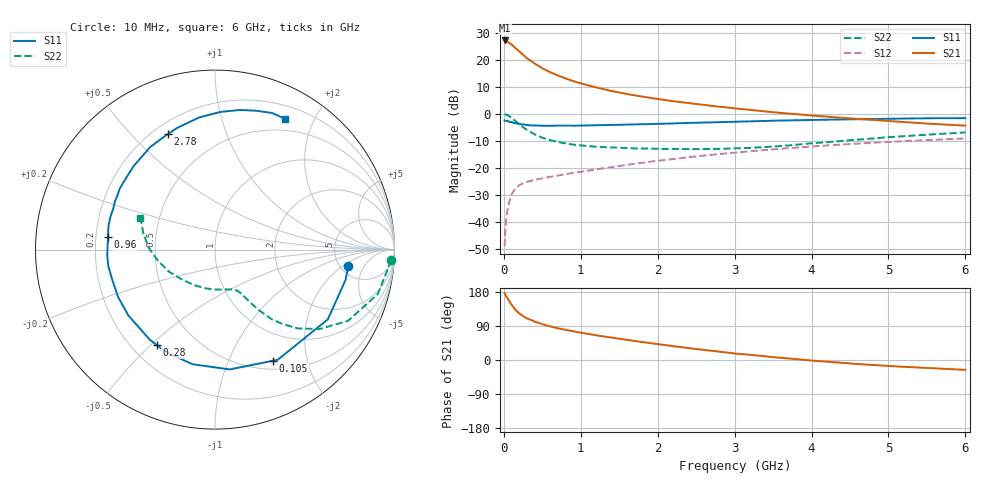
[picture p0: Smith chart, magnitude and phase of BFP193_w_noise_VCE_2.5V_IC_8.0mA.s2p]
! Infineon Technologies  Discrete & RF Semiconductors
! BFP193
! VCE = 2.5 V,  IC =  8.0 mA
! Common Emitter S-Parameters:  Jan 2016
# GHz  S  MA  R  50
!  f  S11  S21  S12  S22
! GHz  MAG  ANG  MAG  ANG  MAG  ANG  MAG  ANG
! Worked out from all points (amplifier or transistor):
!   210 points, 10 MHz to 6 GHz, reference 50 ohm
!   highest |S21| = 27.2 dB at 10 MHz (marker M1)
!   |S21| within 3 dB of that: start of sweep to 158.3 MHz
!   unconditionally stable (mu >= 1): 1.091 GHz to 3.616 GHz
!   at 185 MHz: K = 0.28, MSG = 25.2 dB, |S12| = -26.9 dB
!   at 1.52 GHz: K = 1.09, MAG = 11.7 dB, |S12| = -19.3 dB
!   at 6 GHz: K = 0.92, MSG = 2.4 dB, |S12| = -9.2 dB
!   lowest NFmin = 1.25 dB at 450 MHz
!   S11 on the Smith chart (normalised r, x): 10 MHz: 5.95, -2.44; 105 MHz: 0.61, -1.47; 280 MHz: 0.30, -0.52; 960 MHz: 0.25, +0.05; 2.78 GHz: 0.26, +0.64; 6 GHz: 0.35, +1.61
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0.01  0.7491 -6.9  22.79 176.9  0.0035 88.0  0.9811 -3.3
0.02  0.7467 -13.1  22.16 171.9  0.0072 87.1  0.9701 -6.2
0.05  0.739 -31.7  21.5 161.3  0.0172 74.0  0.9396 -15.3
0.1  0.7065 -60.3  19.31 145.5  0.0316 63.0  0.8407 -28.2
0.105  0.6984 -62.4  18.99 144.4  0.0325 61.8  0.8291 -29.0
0.15  0.6727 -83.0  16.53 132.4  0.041 53.8  0.7328 -37.1
0.2  0.6508 -101.0  14.34 123.0  0.047 48.3  0.6386 -43.5
0.24  0.6335 -112.4  12.68 117.0  0.0506 45.2  0.5741 -46.9
0.28  0.6227 -121.5  11.34 112.1  0.0534 43.1  0.5241 -49.6
0.3  0.6199 -125.8  10.73 109.7  0.0547 42.2  0.5015 -50.8
0.4  0.6063 -142.8  8.527 101.2  0.0594 39.9  0.4143 -54.2
0.5  0.6009 -154.1  6.947 94.4  0.0634 39.0  0.3588 -56.1
0.7  0.6018 -171.3  5.126 83.7  0.071 40.0  0.2996 -58.4
0.96  0.6007 173.4  3.798 73.5  0.0821 42.6  0.2616 -61.4
1.02  0.6036 170.5  3.585 71.3  0.0845 43.2  0.2562 -62.3
1.4  0.6188 154.2  2.632 59.0  0.1018 45.0  0.2375 -69.3
2.02  0.6504 133.5  1.857 41.4  0.1353 45.0  0.2227 -85.2
2.78  0.6961 112.1  1.359 22.5  0.1776 41.2  0.2223 -110.5
3.1  0.715 104.9  1.216 15.5  0.1955 38.7  0.2297 -122.1
4.1  0.7708 86.2  0.903 -2.9  0.2525 29.8  0.2891 -157.1
5.1  0.8097 72.2  0.717 -16.9  0.3045 19.2  0.3745 176.4
6  0.8266 61.9  0.601 -26.0  0.348 9.2  0.45 157.3
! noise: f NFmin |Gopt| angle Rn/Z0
0.45  1.25  0.23  133  0.12
0.9  1.3  0.35  156  0.11
1.8  2  0.55  -155  0.13
